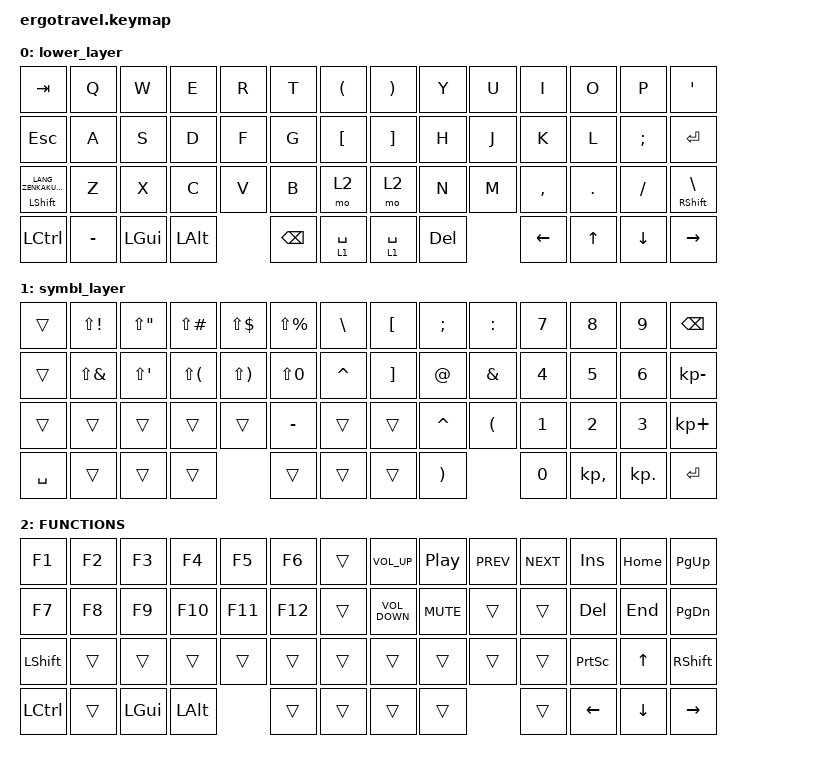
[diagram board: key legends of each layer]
/*
 * Copyright (c) 2020 The ZMK Contributors
 *
 * SPDX-License-Identifier: MIT
 */

#include <behaviors.dtsi>
#include <dt-bindings/zmk/keys.h>

#define LOWER 0
#define SYMBL 1
#define FN_LAYER 2
#define HYPER LS(LC(LGUI))

&lt {
    tapping_term_ms = <300>;
};

&mt {
    tapping_term_ms = <300>;
};

&sl {
    release-after-ms = <2000>;
};

/ {
    keymap {
        compatible = "zmk,keymap";

        lower_layer {
            bindings = <
&kp TAB                        &kp Q      &kp W         &kp E         &kp R  &kp T          &kp LEFT_PARENTHESIS      &kp RIGHT_PARENTHESIS  &kp Y    &kp U  &kp I      &kp O    &kp P      &kp SINGLE_QUOTE
&kp ESCAPE                     &kp A      &kp S         &kp D         &kp F  &kp G          &kp LBKT                  &kp RBKT               &kp H    &kp J  &kp K      &kp L    &kp SEMI   &kp RETURN
&mt LSHFT LANG_ZENKAKUHANKAKU  &kp Z      &kp X         &kp C         &kp V  &kp B          &mo 2                     &mo 2                  &kp N    &kp M  &kp COMMA  &kp DOT  &kp SLASH  &mt RIGHT_SHIFT BACKSLASH
&kp LCTRL                      &kp MINUS  &kp LEFT_GUI  &kp LEFT_ALT         &kp BACKSPACE  &lt 1 SPACE               &lt 1 SPACE            &kp DEL         &kp LEFT   &kp UP   &kp DOWN   &kp RIGHT
            >;
        };

        symbl_layer {
            bindings = <
&trans     &kp LS(EXCL)  &kp LS(DQT)  &kp LS(POUND)  &kp LS(DLLR)  &kp LS(PRCNT)  &kp BSLH       &kp LBKT  &kp SEMI   &kp COLON  &kp N7  &kp N8        &kp N9      &kp BACKSPACE
&trans     &kp LS(AMPS)  &kp LS(SQT)  &kp LS(LPAR)   &kp LS(RPAR)  &kp LS(N0)     &kp CARET      &kp RBKT  &kp AT     &kp AMPS   &kp N4  &kp N5        &kp N6      &kp KP_MINUS
&trans     &trans        &trans       &trans         &trans        &kp MINUS      &trans         &trans    &kp CARET  &kp LPAR   &kp N1  &kp N2        &kp N3      &kp KP_PLUS
&kp SPACE  &trans        &trans       &trans                       &trans         &trans         &trans    &kp RPAR              &kp N0  &kp KP_COMMA  &kp KP_DOT  &kp RET
            >;
        };

        fn_layer {
            bindings = <
&kp F1     &kp F2  &kp F3    &kp F4    &kp F5   &kp F6   &trans      &kp C_VOLUME_UP    &kp C_PLAY_PAUSE  &kp C_PREV  &kp C_NEXT  &kp INSERT       &kp HOME  &kp PG_UP
&kp F7     &kp F8  &kp F9    &kp F10   &kp F11  &kp F12  &trans      &kp C_VOLUME_DOWN  &kp C_MUTE        &trans      &trans      &kp DEL          &kp END   &kp PG_DN
&kp LSHFT  &trans  &trans    &trans    &trans   &trans   &trans      &trans             &trans            &trans      &trans      &kp PRINTSCREEN  &kp UP    &kp RSHFT
&kp LCTRL  &trans  &kp LGUI  &kp LALT           &trans   &trans      &trans             &trans                        &trans      &kp LEFT         &kp DOWN  &kp RIGHT
            >;

            label = "FUNCTIONS";
        };
    };
};
